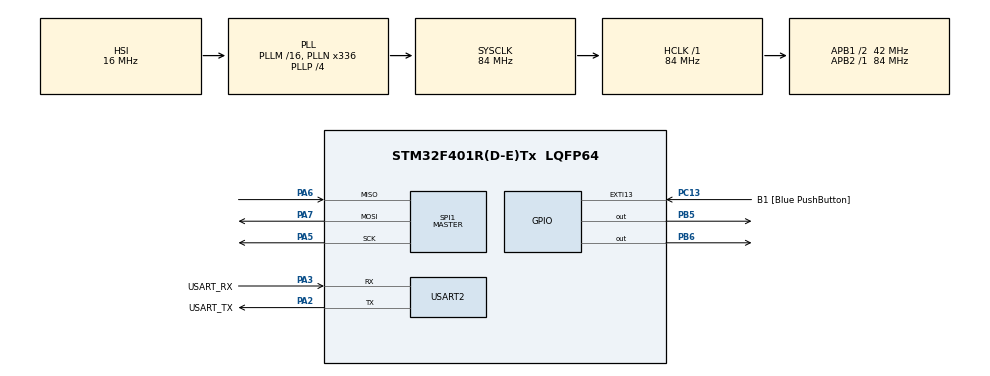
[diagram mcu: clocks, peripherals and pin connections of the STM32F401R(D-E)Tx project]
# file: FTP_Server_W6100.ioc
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FATFS._MAX_SS=4096
FATFS._USE_LFN=1
Mcu.Family=STM32F4
Mcu.Name=STM32F401R(D-E)Tx
Mcu.Package=LQFP64
NVIC.PriorityGroup=NVIC_PRIORITYGROUP_0
NVIC.TIM1_UP_TIM10_IRQn=true\:0\:0\:false\:false\:true\:true\:true\:true
NVIC.USART2_IRQn=true\:0\:0\:false\:false\:true\:true\:true\:true
PA13.GPIO_Label=TMS
PA13.Mode=Serial_Wire
PA13.Signal=SYS_JTMS-SWDIO
PA14.GPIO_Label=TCK
PA14.Mode=Serial_Wire
PA14.Signal=SYS_JTCK-SWCLK
PA2.GPIO_Label=USART_TX
PA2.GPIO_Mode=GPIO_MODE_AF_PP
PA2.GPIO_PuPd=GPIO_NOPULL
PA2.GPIO_Speed=GPIO_SPEED_FREQ_LOW
PA2.Mode=Asynchronous
PA2.Signal=USART2_TX
PA3.GPIO_Label=USART_RX
PA3.GPIO_Mode=GPIO_MODE_AF_PP
PA3.GPIO_PuPd=GPIO_NOPULL
PA3.GPIO_Speed=GPIO_SPEED_FREQ_LOW
PA3.Mode=Asynchronous
PA3.Signal=USART2_RX
PA5.Mode=Full_Duplex_Master
PA5.Signal=SPI1_SCK
PA6.Mode=Full_Duplex_Master
PA6.Signal=SPI1_MISO
PA7.Mode=Full_Duplex_Master
PA7.Signal=SPI1_MOSI
PB3.GPIO_Label=SWO
PB3.Signal=SYS_JTDO-SWO
PB5.Signal=GPIO_Output
PB6.Signal=GPIO_Output
PC13-ANTI_TAMP.GPIO_Label=B1 [Blue PushButton]
PC13-ANTI_TAMP.GPIO_ModeDefaultEXTI=GPIO_MODE_IT_FALLING
PC13-ANTI_TAMP.GPIO_PuPd=GPIO_NOPULL
PC13-ANTI_TAMP.Signal=GPXTI13
PC14-OSC32_IN.Mode=LSE-External-Oscillator
PC14-OSC32_IN.Signal=RCC_OSC32_IN
PC15-OSC32_OUT.Mode=LSE-External-Oscillator
PC15-OSC32_OUT.Signal=RCC_OSC32_OUT
PH0\ -\ OSC_IN.Mode=HSE-External-Clock-Source
PH0\ -\ OSC_IN.Signal=RCC_OSC_IN
PH1\ -\ OSC_OUT.Mode=HSE-External-Clock-Source
PH1\ -\ OSC_OUT.Signal=RCC_OSC_OUT
ProjectManager.HeapSize=0x800
ProjectManager.StackSize=0xF00
ProjectManager.TargetToolchain=STM32CubeIDE
RCC.48MHZClocksFreq_Value=48000000
RCC.AHBFreq_Value=84000000
RCC.APB1CLKDivider=RCC_HCLK_DIV2
RCC.APB1Freq_Value=42000000
RCC.APB1TimFreq_Value=84000000
RCC.APB2Freq_Value=84000000
RCC.APB2TimFreq_Value=84000000
RCC.CortexFreq_Value=84000000
RCC.HCLKFreq_Value=84000000
RCC.HSE_VALUE=8000000
RCC.HSI_VALUE=16000000
RCC.PLLN=336
RCC.PLLP=RCC_PLLP_DIV4
RCC.PLLQ=7
RCC.RCC_RTC_Clock_Source=RCC_RTCCLKSOURCE_LSE
RCC.RCC_RTC_Clock_SourceVirtual=RCC_RTCCLKSOURCE_LSE
RCC.SYSCLKFreq_VALUE=84000000
RCC.SYSCLKSource=RCC_SYSCLKSOURCE_PLLCLK
RCC.VCOOutputFreq_Value=336000000
SPI1.BaudRatePrescaler=SPI_BAUDRATEPRESCALER_8
SPI1.Direction=SPI_DIRECTION_2LINES
SPI1.Mode=SPI_MODE_MASTER
SPI1.VirtualType=VM_MASTER
TIM10.ClockDivision=TIM_CLOCKDIVISION_DIV2
USART2.VirtualMode=VM_ASYNC
VP_FATFS_VS_Generic.Mode=User_defined
VP_RTC_VS_RTC_Activate.Mode=RTC_Enabled
VP_TIM10_VS_ClockSourceINT.Mode=Enable_Timer
VP_TIM1_VS_ClockSourceINT.Mode=Internal
board=NUCLEO-F401RE

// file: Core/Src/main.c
/* USER CODE BEGIN Header */
/**
  ******************************************************************************
  * @file           : main.c
  * @brief          : Main program body
  ******************************************************************************
  * @attention
  *
  * Copyright (c) 2022 STMicroelectronics.
  * All rights reserved.
  *
  * This software is licensed under terms that can be found in the LICENSE file
  * in the root directory of this software component.
  * If no LICENSE file comes with this software, it is provided AS-IS.
  *
  ******************************************************************************
  */
/* USER CODE END Header */
#include "main.h"
#include "fatfs.h"

/* USER CODE BEGIN Includes */

#include "wizchip_conf.h"
#include "W6100.h"
#include <stdio.h>
#include <string.h>

#include "ftpd.h"
#include "Application.h"
#include "wizchip_init.h"
#include "ff_func.h"
//#include "general_sdcard.h"

/* USER CODE END Includes */

/* USER CODE BEGIN PTD */
#define True_STD
/* USER CODE END PTD */

RTC_HandleTypeDef hrtc;

SPI_HandleTypeDef hspi1;

TIM_HandleTypeDef htim1;
TIM_HandleTypeDef htim10;

UART_HandleTypeDef huart2;

/* USER CODE BEGIN PV */
wiz_NetInfo gWIZNETINFO = { .mac = {0x00,0x08,0xdc,0xff,0xff,0xff},
							.ip = {192,168,50,125},
							.sn = {255, 255, 255, 0},
							.gw = {192, 168, 0, 1},
							.dns = {168, 126, 63, 1},
							.lla = {0xfe,0x80, 0x00,0x00,
								 0x00,0x00, 0x00,0x00,
								 0x02,0x08, 0xdc,0xff,
								 0xfe,0xff, 0xff,0xff},
				            .gua={0x20,0x01,0x02,0xb8,
								 0x00,0x10,0x00,0x01,
								 0x02,0x08,0xdc,0xff,
								 0xfe,0xff,0xff,0xff},
				            .sn6={0xff,0xff,0xff,0xff,
								 0xff,0xff,0xff,0xff,
								 0x00,0x00,0x00, 0x00,
								 0x00,0x00,0x00,0x00},
				            .gw6={0xfe, 0x80, 0x00,0x00,
								  0x00,0x00,0x00,0x00,
								  0x02,0x00, 0x87,0xff,
								  0xfe,0x08, 0x4c,0x81}
							};

uint8_t WIZ_Dest_IP[4] = {192, 168, 50, 59};                  //DST_IP Address

uint8_t DestIP6_L[16] = {0xfe,0x80, 0x00,0x00,
						  0x00,0x00, 0x00,0x00,
                          0x31,0x71,0x98,0x05,
                          0x70,0x24,0x4b,0xb1
						};

uint8_t DestIP6_G[16] = {0x20,0x01,0x02,0xb8,
                          0x00,0x10,0x00,0x01,
                          0x31,0x71,0x98,0x05,
                          0x70,0x24,0x4b,0xb1
                         };

uint8_t Router_IP[16]= {0xff,0x02,0x00,0x00,
                          0x00,0x00,0x00,0x00,
                          0x00,0x00,0x00,0x00,
                          0x00,0x00,0x00,0x02
                         };
uint8_t data_buf[2048];
uint8_t gFTPBUF[_FTP_MAX_MSG_SIZE_];
void print_network_information(void);
int test_sd(void);
int sdCard_Init(void);

/* USER CODE END PV */

void SystemClock_Config(void);
static void MX_GPIO_Init(void);
static void MX_USART2_UART_Init(void);
static void MX_RTC_Init(void);
static void MX_SPI1_Init(void);
static void MX_TIM1_Init(void);
static void MX_TIM10_Init(void);
/* USER CODE BEGIN PFP */
uint8_t rxData[2];
#ifdef KEIL
     #ifdef __GNUC__
     //With GCC, small printf (option LD Linker->Libraries->Small printf
     //set to 'Yes') calls __io_putchar()
         #define PUTCHAR_PROTOTYPE int __io_putchar(int ch)
		#else
				 #define PUTCHAR_PROTOTYPE int fputc(int ch, FILE *f)
		#endif /* __GNUC__*/
#endif

#ifdef True_STD
	int _write(int fd, char *str, int len)
	{
		for(int i=0; i<len; i++)
		{
			HAL_UART_Transmit(&huart2, (uint8_t *)&str[i], 1, 0xFFFF);
		}
		return len;
	}
#endif

void HAL_UART_RxCpltCallback(UART_HandleTypeDef *huart) {

    /*
        This will be called once data is received successfully,
        via interrupts.
    */

     /*
       loop back received data
     */
     HAL_UART_Receive_IT(&huart2, rxData, 1);
     HAL_UART_Transmit(&huart2, rxData, 1, 1000);
}
void HAL_TIM_PeriodElapsedCallback(TIM_HandleTypeDef *htim)
{
  /* Prevent unused argument(s) compilation warning */
#if 0
    if(htim->Instance == TIM10);
    {

    }
#endif

  /* NOTE : This function should not be modified, when the callback is needed,
            the HAL_TIM_PeriodElapsedCallback could be implemented in the user file
   */
}

/* USER CODE END PFP */

int main(void)
{
  /* USER CODE BEGIN 1 */
  uint8_t syslock = SYS_NET_LOCK;
  FATFS fs;
  FRESULT fres;
  DSTATUS res;
  char scan_file_buf[512];
  int temp_len;
  /* USER CODE END 1 */

  /* MCU Configuration--------------------------------------------------------*/

  /* Reset of all peripherals, Initializes the Flash interface and the Systick. */
  HAL_Init();

  /* Configure the system clock */
  SystemClock_Config();

  /* Initialize all configured peripherals */
  MX_GPIO_Init();
  MX_USART2_UART_Init();
  MX_RTC_Init();
  MX_SPI1_Init();
  MX_FATFS_Init();
  MX_TIM1_Init();
  MX_TIM10_Init();
  /* USER CODE BEGIN 2 */
  HAL_UART_Receive_IT(&huart2, rxData, 1);

  printf("< W6100EVB Hal Driver FTP TEST!! >\r\n");
  HAL_GPIO_WritePin(W6100_CS_PORT, W6100_CS_PIN, GPIO_PIN_SET);
  HAL_GPIO_WritePin(GPIOB, GPIO_PIN_5, GPIO_PIN_SET);
  #if 1
  W6100Initialze();
  ctlwizchip(CW_SYS_UNLOCK,& syslock);
  ctlnetwork(CN_SET_NETINFO,&gWIZNETINFO);

  printf("VERSION(%x) = %.2x \r\n", _VER_,getVER());
  print_network_information();
  #endif
  ftpd_init("user10", "pass10", 21);
  sdCard_Init();
  scan_files("/", scan_file_buf, &temp_len);
  printf("buf[%d]:%s[end]\r\n", temp_len, scan_file_buf);
  //test_sd();
  #if 0
    if((res =disk_initialize((BYTE) 0)) != RES_OK)
    {
        printf("disk_init Error[%d]\r\n", res);
    }
  printf(" mount \r\n");
    if((fres = f_mount(&fs, "", 0)) != FR_OK)
    {
    	printf("mount Error[%d]!\r\n", fres);
    	return -1;
    }

#if 1
      printf(" Check freeSpace space \r\n");
      if((fres = f_getfree("", &fre_clust, &pfs)) != FR_OK)
      {
          printf("get free  Error[%d]!\r\n", fres);
          return -3;
      }
    #endif

      totalSpace = (uint32_t)((pfs->n_fatent - 2) * pfs->csize * 0.5);
      freeSpace = (uint32_t)(fre_clust * pfs->csize * 0.5);

      /* free space is less than 1kb */
      if(freeSpace < 1)
      {
          printf("freeSpace Error[%ld]!\r\n", freeSpace);
          return -4;
      }
      printf("toral : %ld , free : %ld \r\n", totalSpace, freeSpace);
    #endif
  //testFunc();
  /* USER CODE END 2 */

  /* Infinite loop */
  /* USER CODE BEGIN WHILE */
  while (1)
  {
    ftpd_run(gFTPBUF);
    /* USER CODE END WHILE */

  }
}

void SystemClock_Config(void)
{
  RCC_OscInitTypeDef RCC_OscInitStruct = {0};
  RCC_ClkInitTypeDef RCC_ClkInitStruct = {0};

  /** Configure the main internal regulator output voltage
  */
  __HAL_RCC_PWR_CLK_ENABLE();
  __HAL_PWR_VOLTAGESCALING_CONFIG(PWR_REGULATOR_VOLTAGE_SCALE2);

  /** Initializes the RCC Oscillators according to the specified parameters
  * in the RCC_OscInitTypeDef structure.
  */
  RCC_OscInitStruct.OscillatorType = RCC_OSCILLATORTYPE_HSI|RCC_OSCILLATORTYPE_LSE;
  RCC_OscInitStruct.LSEState = RCC_LSE_ON;
  RCC_OscInitStruct.HSIState = RCC_HSI_ON;
  RCC_OscInitStruct.HSICalibrationValue = RCC_HSICALIBRATION_DEFAULT;
  RCC_OscInitStruct.PLL.PLLState = RCC_PLL_ON;
  RCC_OscInitStruct.PLL.PLLSource = RCC_PLLSOURCE_HSI;
  RCC_OscInitStruct.PLL.PLLM = 16;
  RCC_OscInitStruct.PLL.PLLN = 336;
  RCC_OscInitStruct.PLL.PLLP = RCC_PLLP_DIV4;
  RCC_OscInitStruct.PLL.PLLQ = 7;
  if (HAL_RCC_OscConfig(&RCC_OscInitStruct) != HAL_OK)
  {
    Error_Handler();
  }

  /** Initializes the CPU, AHB and APB buses clocks
  */
  RCC_ClkInitStruct.ClockType = RCC_CLOCKTYPE_HCLK|RCC_CLOCKTYPE_SYSCLK
                              |RCC_CLOCKTYPE_PCLK1|RCC_CLOCKTYPE_PCLK2;
  RCC_ClkInitStruct.SYSCLKSource = RCC_SYSCLKSOURCE_PLLCLK;
  RCC_ClkInitStruct.AHBCLKDivider = RCC_SYSCLK_DIV1;
  RCC_ClkInitStruct.APB1CLKDivider = RCC_HCLK_DIV2;
  RCC_ClkInitStruct.APB2CLKDivider = RCC_HCLK_DIV1;

  if (HAL_RCC_ClockConfig(&RCC_ClkInitStruct, FLASH_LATENCY_2) != HAL_OK)
  {
    Error_Handler();
  }
}

static void MX_RTC_Init(void)
{

  /** Initialize RTC Only
  */
  hrtc.Instance = RTC;
  hrtc.Init.HourFormat = RTC_HOURFORMAT_24;
  hrtc.Init.AsynchPrediv = 127;
  hrtc.Init.SynchPrediv = 255;
  hrtc.Init.OutPut = RTC_OUTPUT_DISABLE;
  hrtc.Init.OutPutPolarity = RTC_OUTPUT_POLARITY_HIGH;
  hrtc.Init.OutPutType = RTC_OUTPUT_TYPE_OPENDRAIN;
  if (HAL_RTC_Init(&hrtc) != HAL_OK)
  {
    Error_Handler();
  }

}

static void MX_SPI1_Init(void)
{

  /* SPI1 parameter configuration*/
  hspi1.Instance = SPI1;
  hspi1.Init.Mode = SPI_MODE_MASTER;
  hspi1.Init.Direction = SPI_DIRECTION_2LINES;
  hspi1.Init.DataSize = SPI_DATASIZE_8BIT;
  hspi1.Init.CLKPolarity = SPI_POLARITY_LOW;
  hspi1.Init.CLKPhase = SPI_PHASE_1EDGE;
  hspi1.Init.NSS = SPI_NSS_SOFT;
  hspi1.Init.BaudRatePrescaler = SPI_BAUDRATEPRESCALER_8;
  hspi1.Init.FirstBit = SPI_FIRSTBIT_MSB;
  hspi1.Init.TIMode = SPI_TIMODE_DISABLE;
  hspi1.Init.CRCCalculation = SPI_CRCCALCULATION_DISABLE;
  hspi1.Init.CRCPolynomial = 10;
  if (HAL_SPI_Init(&hspi1) != HAL_OK)
  {
    Error_Handler();
  }

}

static void MX_TIM1_Init(void)
{

  TIM_ClockConfigTypeDef sClockSourceConfig = {0};
  TIM_MasterConfigTypeDef sMasterConfig = {0};

  htim1.Instance = TIM1;
  htim1.Init.Prescaler = 0;
  htim1.Init.CounterMode = TIM_COUNTERMODE_UP;
  htim1.Init.Period = 65535;
  htim1.Init.ClockDivision = TIM_CLOCKDIVISION_DIV1;
  htim1.Init.RepetitionCounter = 0;
  htim1.Init.AutoReloadPreload = TIM_AUTORELOAD_PRELOAD_DISABLE;
  if (HAL_TIM_Base_Init(&htim1) != HAL_OK)
  {
    Error_Handler();
  }
  sClockSourceConfig.ClockSource = TIM_CLOCKSOURCE_INTERNAL;
  if (HAL_TIM_ConfigClockSource(&htim1, &sClockSourceConfig) != HAL_OK)
  {
    Error_Handler();
  }
  sMasterConfig.MasterOutputTrigger = TIM_TRGO_RESET;
  sMasterConfig.MasterSlaveMode = TIM_MASTERSLAVEMODE_DISABLE;
  if (HAL_TIMEx_MasterConfigSynchronization(&htim1, &sMasterConfig) != HAL_OK)
  {
    Error_Handler();
  }

}

static void MX_TIM10_Init(void)
{

  htim10.Instance = TIM10;
  htim10.Init.Prescaler = 0;
  htim10.Init.CounterMode = TIM_COUNTERMODE_UP;
  htim10.Init.Period = 65535;
  htim10.Init.ClockDivision = TIM_CLOCKDIVISION_DIV2;
  htim10.Init.AutoReloadPreload = TIM_AUTORELOAD_PRELOAD_DISABLE;
  if (HAL_TIM_Base_Init(&htim10) != HAL_OK)
  {
    Error_Handler();
  }

}

static void MX_USART2_UART_Init(void)
{

  huart2.Instance = USART2;
  huart2.Init.BaudRate = 115200;
  huart2.Init.WordLength = UART_WORDLENGTH_8B;
  huart2.Init.StopBits = UART_STOPBITS_1;
  huart2.Init.Parity = UART_PARITY_NONE;
  huart2.Init.Mode = UART_MODE_TX_RX;
  huart2.Init.HwFlowCtl = UART_HWCONTROL_NONE;
  huart2.Init.OverSampling = UART_OVERSAMPLING_16;
  if (HAL_UART_Init(&huart2) != HAL_OK)
  {
    Error_Handler();
  }

}

static void MX_GPIO_Init(void)
{
  GPIO_InitTypeDef GPIO_InitStruct = {0};

  /* GPIO Ports Clock Enable */
  __HAL_RCC_GPIOC_CLK_ENABLE();
  __HAL_RCC_GPIOH_CLK_ENABLE();
  __HAL_RCC_GPIOA_CLK_ENABLE();
  __HAL_RCC_GPIOB_CLK_ENABLE();

  /*Configure GPIO pin Output Level */
  HAL_GPIO_WritePin(GPIOB, GPIO_PIN_5|GPIO_PIN_6, GPIO_PIN_RESET);

  /*Configure GPIO pin : B1_Pin */
  GPIO_InitStruct.Pin = B1_Pin;
  GPIO_InitStruct.Mode = GPIO_MODE_IT_FALLING;
  GPIO_InitStruct.Pull = GPIO_NOPULL;
  HAL_GPIO_Init(B1_GPIO_Port, &GPIO_InitStruct);

  /*Configure GPIO pins : PB5 PB6 */
  GPIO_InitStruct.Pin = GPIO_PIN_5|GPIO_PIN_6;
  GPIO_InitStruct.Mode = GPIO_MODE_OUTPUT_PP;
  GPIO_InitStruct.Pull = GPIO_NOPULL;
  GPIO_InitStruct.Speed = GPIO_SPEED_FREQ_LOW;
  HAL_GPIO_Init(GPIOB, &GPIO_InitStruct);

}

/* USER CODE BEGIN 4 */
#ifdef KEIL
	PUTCHAR_PROTOTYPE
 {
		HAL_UART_Transmit(&huart1, (uint8_t *)&ch, 1, 0xFFFF);

		return ch;
 }
#endif
void print_network_information(void)
{
	wizchip_getnetinfo(&gWIZNETINFO);
	printf("Mac address: %02x:%02x:%02x:%02x:%02x:%02x\n\r",gWIZNETINFO.mac[0],gWIZNETINFO.mac[1],gWIZNETINFO.mac[2],gWIZNETINFO.mac[3],gWIZNETINFO.mac[4],gWIZNETINFO.mac[5]);
	printf("IP address : %d.%d.%d.%d\n\r",gWIZNETINFO.ip[0],gWIZNETINFO.ip[1],gWIZNETINFO.ip[2],gWIZNETINFO.ip[3]);
	printf("SN Mask	   : %d.%d.%d.%d\n\r",gWIZNETINFO.sn[0],gWIZNETINFO.sn[1],gWIZNETINFO.sn[2],gWIZNETINFO.sn[3]);
	printf("Gate way   : %d.%d.%d.%d\n\r",gWIZNETINFO.gw[0],gWIZNETINFO.gw[1],gWIZNETINFO.gw[2],gWIZNETINFO.gw[3]);
	printf("DNS Server : %d.%d.%d.%d\n\r",gWIZNETINFO.dns[0],gWIZNETINFO.dns[1],gWIZNETINFO.dns[2],gWIZNETINFO.dns[3]);
	printf("LLA  : %.2X%.2X:%.2X%.2X:%.2X%.2X:%.2X%.2X:%.2X%.2X:%.2X%.2X:%.2X%.2X:%.2X%.2X\r\n",gWIZNETINFO.lla[0],gWIZNETINFO.lla[1],gWIZNETINFO.lla[2],gWIZNETINFO.lla[3],\
									gWIZNETINFO.lla[4],gWIZNETINFO.lla[5],gWIZNETINFO.lla[6],gWIZNETINFO.lla[7],\
									gWIZNETINFO.lla[8],gWIZNETINFO.lla[9],gWIZNETINFO.lla[10],gWIZNETINFO.lla[11],\
									gWIZNETINFO.lla[12],gWIZNETINFO.lla[13],gWIZNETINFO.lla[14],gWIZNETINFO.lla[15]);
	printf("GUA  : %.2X%.2X:%.2X%.2X:%.2X%.2X:%.2X%.2X:%.2X%.2X:%.2X%.2X:%.2X%.2X:%.2X%.2X\n\r",gWIZNETINFO.gua[0],gWIZNETINFO.gua[1],gWIZNETINFO.gua[2],gWIZNETINFO.gua[3],\
									gWIZNETINFO.gua[4],gWIZNETINFO.gua[5],gWIZNETINFO.gua[6],gWIZNETINFO.gua[7],\
									gWIZNETINFO.gua[8],gWIZNETINFO.gua[9],gWIZNETINFO.gua[10],gWIZNETINFO.gua[11],\
									gWIZNETINFO.gua[12],gWIZNETINFO.gua[13],gWIZNETINFO.gua[14],gWIZNETINFO.gua[15]);
	printf("SN6  : %.2X%.2X:%.2X%.2X:%.2X%.2X:%.2X%.2X:%.2X%.2X:%.2X%.2X:%.2X%.2X:%.2X%.2X\n\r",gWIZNETINFO.sn6[0],gWIZNETINFO.sn6[1],gWIZNETINFO.sn6[2],gWIZNETINFO.sn6[3],\
									gWIZNETINFO.sn6[4],gWIZNETINFO.sn6[5],gWIZNETINFO.sn6[6],gWIZNETINFO.sn6[7],\
									gWIZNETINFO.sn6[8],gWIZNETINFO.sn6[9],gWIZNETINFO.sn6[10],gWIZNETINFO.sn6[11],\
									gWIZNETINFO.sn6[12],gWIZNETINFO.sn6[13],gWIZNETINFO.sn6[14],gWIZNETINFO.sn6[15]);
	printf("GW6  : %.2X%.2X:%.2X%.2X:%.2X%.2X:%.2X%.2X:%.2X%.2X:%.2X%.2X:%.2X%.2X:%.2X%.2X\r\n",gWIZNETINFO.gw6[0],gWIZNETINFO.gw6[1],gWIZNETINFO.gw6[2],gWIZNETINFO.gw6[3],\
									gWIZNETINFO.gw6[4],gWIZNETINFO.gw6[5],gWIZNETINFO.gw6[6],gWIZNETINFO.gw6[7],\
									gWIZNETINFO.gw6[8],gWIZNETINFO.gw6[9],gWIZNETINFO.gw6[10],gWIZNETINFO.gw6[11],\
									gWIZNETINFO.gw6[12],gWIZNETINFO.gw6[13],gWIZNETINFO.gw6[14],gWIZNETINFO.gw6[15]);
}
int sdCard_Init(void)
{
    FATFS fs;
    FATFS *pfs;
    FIL fil;
    FRESULT fres;
    DSTATUS res;
    DWORD fre_clust;
    uint32_t totalSpace, freeSpace, blocks;
    /* Wait for SD module reset */
	HAL_Delay(500);
    if((res =disk_initialize((BYTE) 0)) != RES_OK)
    {
        printf("disk_init Error[%d]\r\n", res);
    }

	/* Mount SD Card */
    printf(" mount \r\n");
	if((fres = f_mount(&fs, "", 0)) != FR_OK)
	{
		printf("mount Error[%d]!\r\n", fres);
		return -1;
	}
    /* Check freeSpace space */
    #if 1
    printf(" Check freeSpace space \r\n");
	if((fres = f_getfree("", &fre_clust, &pfs)) != FR_OK)
	{
		printf("get free  Error[%d]!\r\n", fres);
		return -3;
	}
    #endif

	totalSpace = (uint32_t)((pfs->n_fatent - 2) * pfs->csize * 0.5);
	freeSpace = (uint32_t)(fre_clust * pfs->csize * 0.5);

	/* free space is less than 1kb */
	if(freeSpace < 1)
	{
		printf("freeSpace Error[%ld]!\r\n", freeSpace);
		return -4;
	}
    printf("toral : %ld , free : %ld \r\n", totalSpace, freeSpace);
}

int test_sd(void)
{
    FATFS fs;
    FATFS *pfs;
    FIL fil;
    FRESULT fres;
    DWORD fre_clust;
    uint32_t totalSpace, freeSpace, blocks;
    char buffer[100];

    /* Wait for SD module reset */
	HAL_Delay(500);

	/* Mount SD Card */
    printf(" mount \r\n");
	if((fres = f_mount(&fs, "", 0)) != FR_OK)
	{
		printf("mount Error[%d]!\r\n", fres);
		return -1;
	}

	/* Open file to write */
    printf("file open : first.txt  \r\n");
	if((fres = f_open(&fil, "first.txt", FA_OPEN_ALWAYS | FA_READ | FA_WRITE)) != FR_OK)
	{
		printf("open Error[%d]!\r\n", fres);
		return -2;
	}

	/* Check freeSpace space */
    #if 1
    printf(" Check freeSpace space \r\n");
	if((fres = f_getfree("", &fre_clust, &pfs)) != FR_OK)
	{
		printf("get free  Error[%d]!\r\n", fres);
		return -3;
	}
    #endif

	totalSpace = (uint32_t)((pfs->n_fatent - 2) * pfs->csize * 0.5);
	freeSpace = (uint32_t)(fre_clust * pfs->csize * 0.5);

	/* free space is less than 1kb */
	if(freeSpace < 1)
	{
		printf("freeSpace Error[%ld]!\r\n", freeSpace);
		return -4;
	}
    printf("toral : %ld , free : %ld \r\n", totalSpace, freeSpace);

	/* Writing text */
	fres = f_puts("STM32 SD Card I/O Example via SPI\n", &fil);
    printf(" puts [STM32 SD Card I/O Example via SPI\n] = %d\r\n ", fres);
	fres = f_puts("Save the world!!!", &fil);
    printf(" puts [Save the world!!!] = %d\r\n ", fres);
    f_write(&fil, "add test \r\n", strlen("add test \r\n"), &blocks);
    printf("f_write : %d\r\n", blocks);

	/* Close file */
    printf("Close File\r\n");
	if((fres = f_close(&fil)) != FR_OK)
	{
		printf("close Error[%d]!\r\n", fres);
		return -5;
	}

	/* Open file to read */
    printf(" open file first.txt \r\n");
	if((fres = f_open(&fil, "first.txt", FA_READ)) != FR_OK)
	{
		printf("open Error[%d]!\r\n", fres);
		return -2;
	}

    printf("read file \r\n");
	while(f_gets(buffer, sizeof(buffer), &fil))
	{
		/* SWV output */
		printf("%s", buffer);
		fflush(stdout);
	}
    printf("\r\n read finish \r\n");
	/* Close file */
	if((fres = f_close(&fil)) != FR_OK)
	{
		printf("close Error[%d]!\r\n", fres);
		return -5;
	}
    printf("file close \r\n");

	/* Unmount SDCARD */
    #if 0
	if((fres = f_mount(NULL, "", 1)) != FR_OK)
	{
		printf("mount Error[%d]!\r\n", fres);
		return -1;
	}

    printf("\r\n unmount SDCARD \r\n");
    #endif
    return 0;
}

/* USER CODE END 4 */

void Error_Handler(void)
{
  __disable_irq();
  while (1)
  {
  }
}
